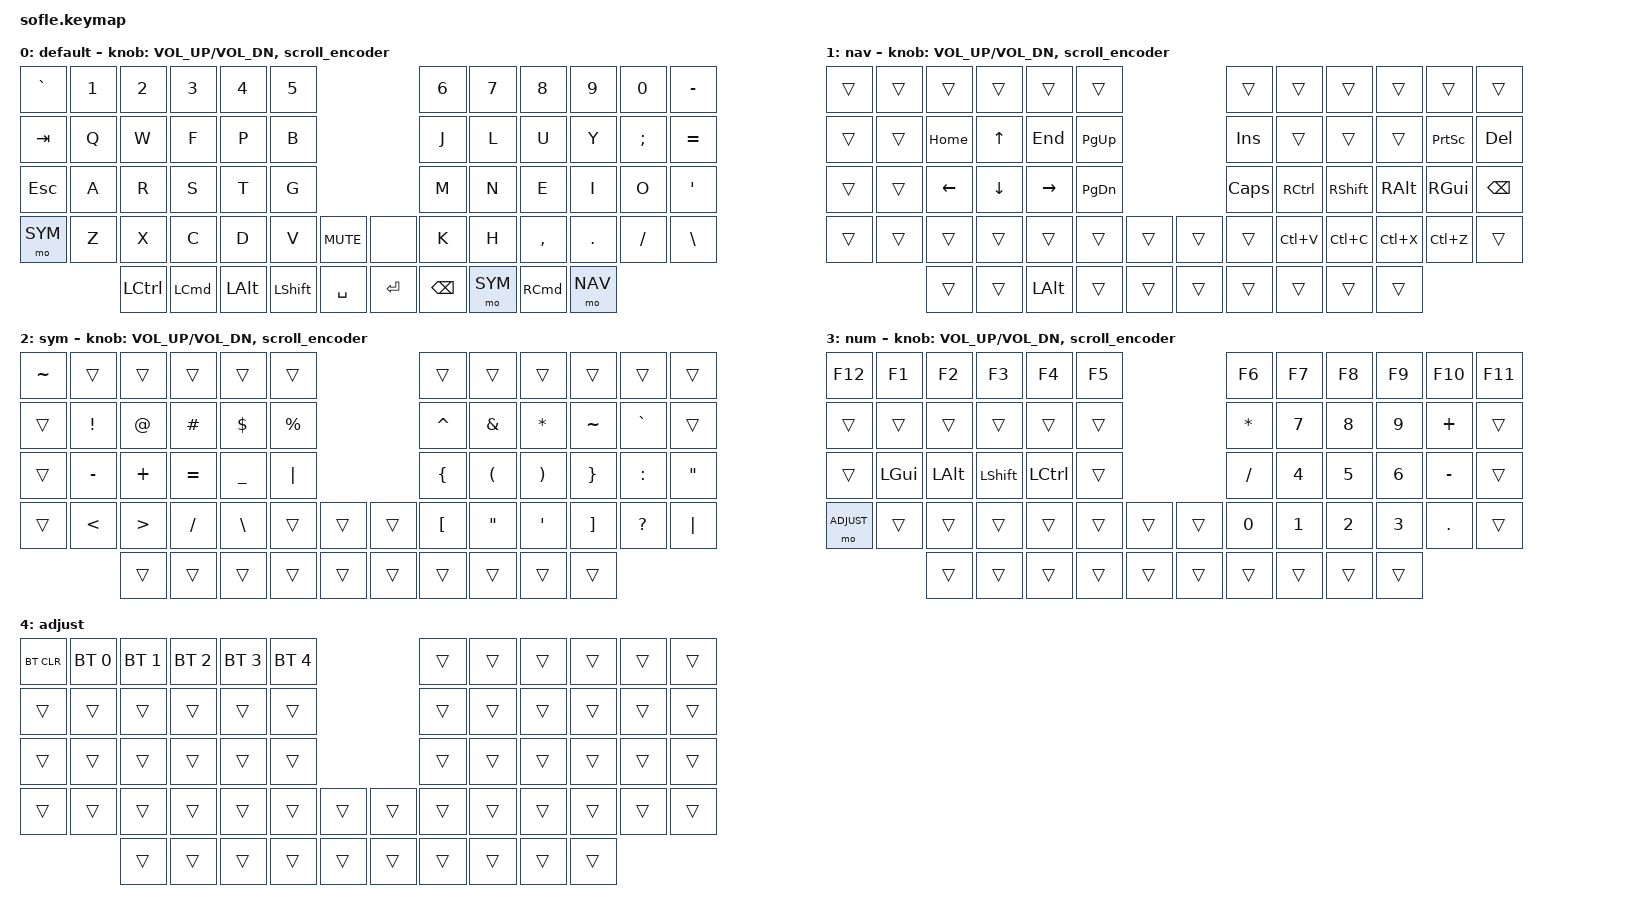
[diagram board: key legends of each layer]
/*
 * Copyright (c) 2020 The ZMK Contributors
 *
 * SPDX-License-Identifier: MIT
 */

#include <behaviors.dtsi>
#include <dt-bindings/zmk/bt.h>
#include <dt-bindings/zmk/keys.h>
#include <dt-bindings/zmk/pointing.h>

#define BASE 0
#define NAV 1
#define SYM 2
#define NUM 3
#define ADJUST 4

/ {
    // Activate NUM layer by pressing NAV and SYM

    conditional_layers {
        compatible = "zmk,conditional-layers";

        num_layer {
            if-layers = <NAV SYM>;
            then-layer = <NUM>;
        };
    };

    behaviors {
        scroll_encoder: scroll_encoder {
            compatible = "zmk,behavior-sensor-rotate";
            #sensor-binding-cells = <0>;
            bindings = <&msc SCRL_UP>, <&msc SCRL_DOWN>;
        };
    };

    keymap {
        compatible = "zmk,keymap";

        default_layer {
            display-name = "default";

            // ------------------------------------------------------------------------------------------------------------
            // |   `   |  1  |  2  |  3   |  4   |  5   |                   |  6   |  7    |  8    |  9   |   0   |   -   |
            // |  TAB  |  Q  |  W  |  F   |  P   |  B   |                   |  J   |  L    |  U    |  Y   |   ;   |   =   |
            // |  ESC  |  A  |  R  |  S   |  T   |  G   |                   |  M   |  N    |  E    |  I   |   O   |   '   |
            // |  SYM  |  Z  |  X  |  C   |  D   |  V   |  MUTE  |  |       |  K   |  H    |  ,    |  .   |   /   |   \   |
            //               | CTRL| CMD  | ALT  | LSHFT|  SPACE |  | ENTER | BSPC | SYM   | CMD   | NAV  |

            bindings = <
&kp GRAVE   &kp N1  &kp N2     &kp N3    &kp N4         &kp N5                                  &kp N6    &kp N7   &kp N8     &kp N9    &kp N0         &kp MINUS
&kp TAB     &kp Q   &kp W      &kp F     &kp P          &kp B                                   &kp J     &kp L    &kp U      &kp Y     &kp SEMICOLON  &kp EQUAL
&kp ESCAPE  &kp A   &kp R      &kp S     &kp T          &kp G                                   &kp M     &kp N    &kp E      &kp I     &kp O          &kp SQT
&mo SYM     &kp Z   &kp X      &kp C     &kp D          &kp V      &kp C_MUTE    &none          &kp K     &kp H    &kp COMMA  &kp DOT   &kp FSLH       &kp BACKSLASH
                     &kp LCTRL  &kp LCMD  &kp LALT       &kp LSHFT  &kp SPACE     &kp ENTER      &kp BSPC  &mo SYM  &kp RCMD   &mo NAV
            >;

            sensor-bindings = <&inc_dec_kp C_VOL_UP C_VOL_DN &scroll_encoder>;
        };

        nav_layer {
            display-name = "nav";

            // ------------------------------------------------------------------------------------------------------------
            // |       |     |     |      |      |      |                   |      |       |       |      |       |       |
            // |       |     | HOME|  UP  | END  | PGUP |                   | INS  |       |       |      | PSCRN |  DEL  |
            // |       |     | LEFT| DOWN |RIGHT | PGDN |                   | CAPS | RCTRL | RSHFT | RALT | RGUI  | BSPC  |
            // |       |     |     |      |      |      |        |  |       |      | PASTE | COPY  | CUT  | UNDO  |       |
            //               |     |      | ALT  |      |        |  |       |      |       |       |      |

            bindings = <
&trans  &trans  &trans    &trans    &trans     &trans                      &trans    &trans      &trans      &trans    &trans    &trans
&trans  &trans  &kp HOME  &kp UP    &kp END    &kp PG_UP                   &kp INS   &trans      &trans      &trans    &kp PSCRN &kp DEL
&trans  &trans  &kp LEFT  &kp DOWN  &kp RIGHT  &kp PG_DN                   &kp CLCK  &kp RCTRL   &kp RSHFT   &kp RALT  &kp RGUI  &kp BSPC
&trans  &trans  &trans    &trans    &trans     &trans     &trans    &trans  &trans    &kp LC(V)   &kp LC(C)   &kp LC(X) &kp LC(Z) &trans
                &trans    &trans    &kp LALT   &trans     &trans    &trans  &trans    &trans      &trans      &trans
            >;

            sensor-bindings = <&inc_dec_kp C_VOL_UP C_VOL_DN &scroll_encoder>;
        };

        sym_layer {
            display-name = "sym";

            // ------------------------------------------------------------------------------------------------------------
            // |   ~   |     |     |      |      |      |                   |      |       |       |      |       |       |
            // |       |  !  |  @  |  #   |  $   |  %   |                   |  ^   |  &    |  *    |  ~   |   `   |       |
            // |       |  -  |  +  |  =   |  _   |  |   |                   |  {   |  (    |  )    |  }   |   :   |   "   |
            // |       |  <  |  >  |  /   |  \   |      |        |  |       |  [   |  "    |  '    |  ]   |   ?   | PIPE  |
            //               |     |      |      |      |        |  |       |      |       |       |      |

            bindings = <
&kp TILDE  &trans     &trans    &trans     &trans         &trans                       &trans    &trans                &trans   &trans    &trans     &trans
&trans     &kp EXCL   &kp AT    &kp HASH   &kp DOLLAR     &kp PERCENT                  &kp CARET &kp AMPS              &kp ASTRK &kp TILDE &kp GRAVE &trans
&trans     &kp MINUS  &kp PLUS  &kp EQUAL  &kp UNDER      &kp PIPE                     &kp LBRC  &kp LEFT_PARENTHESIS  &kp RPAR  &kp RBRC  &kp COLON &kp DOUBLE_QUOTES
&trans     &kp LT     &kp GT    &kp FSLH   &kp BACKSLASH  &trans      &trans    &trans  &kp LBKT  &kp DOUBLE_QUOTES     &kp SQT   &kp RBKT  &kp QMARK &kp PIPE
                       &trans    &trans     &trans         &trans      &trans    &trans  &trans    &trans                &trans    &trans
            >;

            sensor-bindings = <&inc_dec_kp C_VOL_UP C_VOL_DN &scroll_encoder>;
        };

        num_layer {
            display-name = "num";

            // ------------------------------------------------------------------------------------------------------------
            // |  F12  | F1  | F2  |  F3  |  F4  |  F5  |                   |  F6  |  F7   |  F8   |  F9  |  F10  |  F11  |
            // |       |     |     |      |      |      |                   |  *   |  7    |  8    |  9   |   +   |       |
            // |       | LGUI| LALT|LSHFT |LCTRL |      |                   |  /   |  4    |  5    |  6   |   -   |       |
            // | ADJ   |     |     |      |      |      |        |  |       |  0   |  1    |  2    |  3   |   .   |       |
            //               |     |      |      |      |        |  |       |      |       |       |      |

            bindings = <
&kp F12     &kp F1    &kp F2    &kp F3     &kp F4     &kp F5                      &kp F6    &kp F7  &kp F8  &kp F9  &kp F10   &kp F11
&trans      &trans    &trans    &trans     &trans     &trans                      &kp ASTRK &kp N7  &kp N8  &kp N9  &kp PLUS  &trans
&trans      &kp LGUI  &kp LALT  &kp LSHFT  &kp LCTRL  &trans                      &kp FSLH  &kp N4  &kp N5  &kp N6  &kp MINUS &trans
&mo ADJUST  &trans    &trans    &trans     &trans     &trans    &trans    &trans   &kp N0    &kp N1  &kp N2  &kp N3  &kp DOT   &trans
                      &trans    &trans     &trans     &trans    &trans    &trans   &trans    &trans  &trans  &trans
            >;

            sensor-bindings = <&inc_dec_kp C_VOL_UP C_VOL_DN &scroll_encoder>;
        };

        adjust_layer {
            display-name = "adjust";

            // ------------------------------------------------------------------------------------------------------------
            // | BTCLR | BT0 | BT1 |  BT2 |  BT3 |  BT4 |                   |      |       |       |      |       |       |
            // |       |     |     |      |      |      |                   |      |       |       |      |       |       |
            // |       |     |     |      |      |      |                   |      |       |       |      |       |       |
            // |       |     |     |      |      |      |        |  |       |      |       |       |      |       |       |
            //               |     |      |      |      |        |  |       |      |       |       |      |       |       |

            bindings = <
&bt BT_CLR  &bt BT_SEL 0  &bt BT_SEL 1  &bt BT_SEL 2  &bt BT_SEL 3  &bt BT_SEL 4                    &trans  &trans  &trans  &trans  &trans  &trans
&trans      &trans        &trans        &trans        &trans        &trans                            &trans  &trans  &trans  &trans  &trans  &trans
&trans      &trans        &trans        &trans        &trans        &trans                            &trans  &trans  &trans  &trans  &trans  &trans
&trans      &trans        &trans        &trans        &trans        &trans        &trans    &trans    &trans  &trans  &trans  &trans  &trans  &trans
                          &trans        &trans        &trans        &trans        &trans    &trans    &trans  &trans  &trans  &trans
            >;
        };
    };
};
